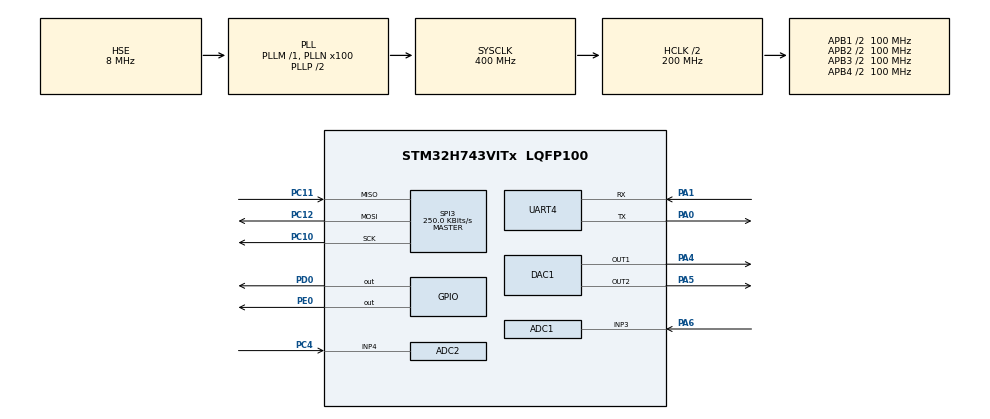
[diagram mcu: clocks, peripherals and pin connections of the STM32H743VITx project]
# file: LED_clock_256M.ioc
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ADC1.Channel-0\#ChannelRegularConversion=ADC_CHANNEL_3
ADC1.ClockPrescaler=ADC_CLOCK_ASYNC_DIV2
ADC1.ConversionDataManagement=ADC_CONVERSIONDATA_DMA_CIRCULAR
ADC1.DMAAccessModeView=ENABLE
ADC1.ExternalTrigConv=ADC_EXTERNALTRIG_T3_TRGO
ADC1.Mode=ADC_DUALMODE_REGSIMULT
ADC1.NbrOfConversion=1
ADC1.NbrOfConversionFlag=1
ADC1.OffsetNumber-0\#ChannelRegularConversion=ADC_OFFSET_NONE
ADC1.OversamplingMode=DISABLE
ADC1.Rank-0\#ChannelRegularConversion=1
ADC1.SamplingTime-0\#ChannelRegularConversion=ADC_SAMPLETIME_1CYCLE_5
ADC1.master=1
ADC2.Channel-1\#ChannelRegularConversion=ADC_CHANNEL_4
ADC2.ClockPrescaler=ADC_CLOCK_ASYNC_DIV2
ADC2.ConversionDataManagement=ADC_CONVERSIONDATA_DMA_CIRCULAR
ADC2.DMAAccessModeView=ENABLE
ADC2.Mode=ADC_DUALMODE_REGSIMULT
ADC2.NbrOfConversionFlag=1
ADC2.OffsetNumber-1\#ChannelRegularConversion=ADC_OFFSET_NONE
ADC2.Rank-1\#ChannelRegularConversion=1
ADC2.SamplingTime-1\#ChannelRegularConversion=ADC_SAMPLETIME_1CYCLE_5
Bdma.BDMA_GENERATOR0.0.Direction=DMA_MEMORY_TO_PERIPH
Bdma.BDMA_GENERATOR0.0.EventEnable=DISABLE
Bdma.BDMA_GENERATOR0.0.Instance=BDMA_Channel0
Bdma.BDMA_GENERATOR0.0.MemDataAlignment=DMA_MDATAALIGN_HALFWORD
Bdma.BDMA_GENERATOR0.0.MemInc=DMA_MINC_ENABLE
Bdma.BDMA_GENERATOR0.0.Mode=DMA_CIRCULAR
Bdma.BDMA_GENERATOR0.0.PeriphDataAlignment=DMA_PDATAALIGN_HALFWORD
Bdma.BDMA_GENERATOR0.0.PeriphInc=DMA_PINC_DISABLE
Bdma.BDMA_GENERATOR0.0.Polarity=HAL_DMAMUX_REQ_GEN_RISING
Bdma.BDMA_GENERATOR0.0.Priority=DMA_PRIORITY_LOW
Bdma.BDMA_GENERATOR0.0.RequestNumber=1
Bdma.BDMA_GENERATOR0.0.SignalID=HAL_DMAMUX2_REQ_GEN_LPTIM2_OUT
Bdma.BDMA_GENERATOR0.0.SyncEnable=DISABLE
Bdma.BDMA_GENERATOR0.0.SyncPolarity=HAL_DMAMUX_SYNC_NO_EVENT
Bdma.BDMA_GENERATOR0.0.SyncRequestNumber=1
Bdma.BDMA_GENERATOR0.0.SyncSignalID=NONE
Bdma.Request0=BDMA_GENERATOR0
Bdma.RequestsNb=1
CORTEX_M7.CPU_DCache=Disabled
CORTEX_M7.CPU_ICache=Disabled
DAC1.DAC_Channel-DAC_OUT2=DAC_CHANNEL_2
DAC1.DAC_Trigger-DAC_OUT1=DAC_TRIGGER_T4_TRGO
DAC1.DAC_Trigger-DAC_OUT2=DAC_TRIGGER_T4_TRGO
Dma.ADC1.0.Direction=DMA_PERIPH_TO_MEMORY
Dma.ADC1.0.EventEnable=DISABLE
Dma.ADC1.0.FIFOMode=DMA_FIFOMODE_DISABLE
Dma.ADC1.0.Instance=DMA1_Stream1
Dma.ADC1.0.MemDataAlignment=DMA_MDATAALIGN_HALFWORD
Dma.ADC1.0.MemInc=DMA_MINC_ENABLE
Dma.ADC1.0.Mode=DMA_CIRCULAR
Dma.ADC1.0.PeriphDataAlignment=DMA_PDATAALIGN_HALFWORD
Dma.ADC1.0.PeriphInc=DMA_PINC_DISABLE
Dma.ADC1.0.Polarity=HAL_DMAMUX_REQ_GEN_RISING
Dma.ADC1.0.Priority=DMA_PRIORITY_LOW
Dma.ADC1.0.RequestNumber=1
Dma.ADC1.0.SignalID=NONE
Dma.ADC1.0.SyncEnable=DISABLE
Dma.ADC1.0.SyncPolarity=HAL_DMAMUX_SYNC_NO_EVENT
Dma.ADC1.0.SyncRequestNumber=1
Dma.ADC1.0.SyncSignalID=NONE
Dma.DAC1_CH1.2.Direction=DMA_MEMORY_TO_PERIPH
Dma.DAC1_CH1.2.EventEnable=DISABLE
Dma.DAC1_CH1.2.FIFOMode=DMA_FIFOMODE_DISABLE
Dma.DAC1_CH1.2.Instance=DMA1_Stream6
Dma.DAC1_CH1.2.MemDataAlignment=DMA_MDATAALIGN_HALFWORD
Dma.DAC1_CH1.2.MemInc=DMA_MINC_ENABLE
Dma.DAC1_CH1.2.Mode=DMA_CIRCULAR
Dma.DAC1_CH1.2.PeriphDataAlignment=DMA_PDATAALIGN_HALFWORD
Dma.DAC1_CH1.2.PeriphInc=DMA_PINC_DISABLE
Dma.DAC1_CH1.2.Polarity=HAL_DMAMUX_REQ_GEN_RISING
Dma.DAC1_CH1.2.Priority=DMA_PRIORITY_LOW
Dma.DAC1_CH1.2.RequestNumber=1
Dma.DAC1_CH1.2.SignalID=NONE
Dma.DAC1_CH1.2.SyncEnable=DISABLE
Dma.DAC1_CH1.2.SyncPolarity=HAL_DMAMUX_SYNC_NO_EVENT
Dma.DAC1_CH1.2.SyncRequestNumber=1
Dma.DAC1_CH1.2.SyncSignalID=NONE
Dma.DAC1_CH2.3.Direction=DMA_MEMORY_TO_PERIPH
Dma.DAC1_CH2.3.EventEnable=DISABLE
Dma.DAC1_CH2.3.FIFOMode=DMA_FIFOMODE_DISABLE
Dma.DAC1_CH2.3.Instance=DMA1_Stream7
Dma.DAC1_CH2.3.MemDataAlignment=DMA_MDATAALIGN_HALFWORD
Dma.DAC1_CH2.3.MemInc=DMA_MINC_ENABLE
Dma.DAC1_CH2.3.Mode=DMA_CIRCULAR
Dma.DAC1_CH2.3.PeriphDataAlignment=DMA_PDATAALIGN_HALFWORD
Dma.DAC1_CH2.3.PeriphInc=DMA_PINC_DISABLE
Dma.DAC1_CH2.3.Polarity=HAL_DMAMUX_REQ_GEN_RISING
Dma.DAC1_CH2.3.Priority=DMA_PRIORITY_LOW
Dma.DAC1_CH2.3.RequestNumber=1
Dma.DAC1_CH2.3.SignalID=NONE
Dma.DAC1_CH2.3.SyncEnable=DISABLE
Dma.DAC1_CH2.3.SyncPolarity=HAL_DMAMUX_SYNC_NO_EVENT
Dma.DAC1_CH2.3.SyncRequestNumber=1
Dma.DAC1_CH2.3.SyncSignalID=NONE
Dma.Request0=ADC1
Dma.Request1=UART4_RX
Dma.Request2=DAC1_CH1
Dma.Request3=DAC1_CH2
Dma.UART4_RX.1.Direction=DMA_PERIPH_TO_MEMORY
Dma.UART4_RX.1.EventEnable=DISABLE
Dma.UART4_RX.1.FIFOMode=DMA_FIFOMODE_DISABLE
Dma.UART4_RX.1.Instance=DMA1_Stream2
Dma.UART4_RX.1.MemDataAlignment=DMA_MDATAALIGN_BYTE
Dma.UART4_RX.1.MemInc=DMA_MINC_ENABLE
Dma.UART4_RX.1.Mode=DMA_NORMAL
Dma.UART4_RX.1.PeriphDataAlignment=DMA_PDATAALIGN_BYTE
Dma.UART4_RX.1.PeriphInc=DMA_PINC_DISABLE
Dma.UART4_RX.1.Polarity=HAL_DMAMUX_REQ_GEN_RISING
Dma.UART4_RX.1.Priority=DMA_PRIORITY_LOW
Dma.UART4_RX.1.RequestNumber=1
Dma.UART4_RX.1.SignalID=NONE
Dma.UART4_RX.1.SyncEnable=DISABLE
Dma.UART4_RX.1.SyncPolarity=HAL_DMAMUX_SYNC_NO_EVENT
Dma.UART4_RX.1.SyncRequestNumber=1
Dma.UART4_RX.1.SyncSignalID=NONE
Mcu.Family=STM32H7
Mcu.Name=STM32H743VITx
Mcu.Package=LQFP100
NVIC.BDMA_Channel0_IRQn=true\:0\:0\:false\:false\:true\:true\:true
NVIC.DMA1_Stream1_IRQn=true\:0\:0\:false\:false\:true\:false\:true
NVIC.DMA1_Stream2_IRQn=true\:0\:0\:false\:false\:true\:false\:true
NVIC.DMA1_Stream6_IRQn=true\:0\:0\:false\:false\:true\:false\:true
NVIC.DMA1_Stream7_IRQn=true\:0\:0\:false\:false\:true\:false\:true
NVIC.DMAMUX2_OVR_IRQn=true\:0\:0\:false\:false\:true\:false\:true
NVIC.PriorityGroup=NVIC_PRIORITYGROUP_4
NVIC.TIM3_IRQn=true\:0\:0\:false\:false\:true\:true\:true
NVIC.UART4_IRQn=true\:0\:0\:false\:false\:true\:true\:true
PA0.Mode=Asynchronous
PA0.Signal=UART4_TX
PA1.Mode=Asynchronous
PA1.Signal=UART4_RX
PA4.Signal=COMP_DAC11_group
PA5.Signal=COMP_DAC12_group
PA6.Signal=ADCx_INP3
PC10.Mode=Full_Duplex_Master
PC10.Signal=SPI3_SCK
PC11.Mode=Full_Duplex_Master
PC11.Signal=SPI3_MISO
PC12.Mode=Full_Duplex_Master
PC12.Signal=SPI3_MOSI
PC4.Signal=ADCx_INP4
PD0.Signal=GPIO_Output
PE0.Signal=GPIO_Output
PH0-OSC_IN\ (PH0).Mode=HSE-External-Oscillator
PH0-OSC_IN\ (PH0).Signal=RCC_OSC_IN
PH1-OSC_OUT\ (PH1).Mode=HSE-External-Oscillator
PH1-OSC_OUT\ (PH1).Signal=RCC_OSC_OUT
ProjectManager.HeapSize=0x200
ProjectManager.StackSize=0x400
ProjectManager.TargetToolchain=MDK-ARM V5
RCC.ADCCLockSelection=RCC_ADCCLKSOURCE_PLL3
RCC.ADCFreq_Value=72000000
RCC.APB1Freq_Value=100000000
RCC.APB2Freq_Value=100000000
RCC.APB3Freq_Value=100000000
RCC.APB4Freq_Value=100000000
RCC.CortexFreq_Value=400000000
RCC.D1PPRE=RCC_APB3_DIV2
RCC.D2PPRE1=RCC_APB1_DIV2
RCC.D2PPRE2=RCC_APB2_DIV2
RCC.D3PPRE=RCC_APB4_DIV2
RCC.DIVM1=1
RCC.DIVM2=1
RCC.DIVM3=1
RCC.DIVN1=100
RCC.DIVN2=32
RCC.DIVN3=27
RCC.DIVP2=1
RCC.DIVR3=3
RCC.HCLKFreq_Value=200000000
RCC.HPRE=RCC_HCLK_DIV2
RCC.HSE_VALUE=8000000
RCC.LPTIM345CLockSelection=RCC_LPTIM345CLKSOURCE_PLL2
RCC.PLL2FRACN=0
RCC.PLL3FRACN=0
RCC.PLLSourceVirtual=RCC_PLLSOURCE_HSE
RCC.PWR_Regulator_Voltage_Scale=PWR_REGULATOR_VOLTAGE_SCALE1
RCC.SPI123CLockSelection=RCC_SPI123CLKSOURCE_CLKP
RCC.SYSCLKFreq_VALUE=400000000
RCC.SYSCLKSource=RCC_SYSCLKSOURCE_PLLCLK
RCC.USBFreq_Value=400000000
SH.ADCx_INP3.0=ADC1_INP3,IN3-Single-Ended
SH.ADCx_INP4.0=ADC2_INP4,IN4-Single-Ended
SH.COMP_DAC11_group.0=DAC1_OUT1,DAC_OUT1
SH.COMP_DAC12_group.0=DAC1_OUT2,DAC_OUT2
SPI3.BaudRatePrescaler=SPI_BAUDRATEPRESCALER_256
SPI3.CLKPhase=SPI_PHASE_2EDGE
SPI3.CalculateBaudRate=250.0 KBits/s
SPI3.DataSize=SPI_DATASIZE_32BIT
SPI3.Direction=SPI_DIRECTION_2LINES
SPI3.Mode=SPI_MODE_MASTER
SPI3.VirtualType=VM_MASTER
TIM3.Period=200-1
TIM3.Prescaler=10-1
TIM3.TIM_MasterOutputTrigger=TIM_TRGO_UPDATE
TIM3.TIM_MasterSlaveMode=TIM_MASTERSLAVEMODE_DISABLE
TIM4.Period=200-1
TIM4.Prescaler=10-1
TIM4.TIM_MasterOutputTrigger=TIM_TRGO_UPDATE
VP_LPTIM2_VS_LPTIM_counterModeInternalClock.Mode=Counts__internal_clock_event_00
VP_LPTIM3_VS_LPTIM_counterModeInternalClock.Mode=Counts__internal_clock_event_00
VP_TIM3_VS_ClockSourceINT.Mode=Internal
VP_TIM4_VS_ClockSourceINT.Mode=Internal
board=custom

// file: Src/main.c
/* USER CODE BEGIN Header */
/**
  ******************************************************************************
  * @file           : main.c
  * @brief          : Main program body
  ******************************************************************************
  ** This notice applies to any and all portions of this file
  * that are not between comment pairs USER CODE BEGIN and
  * USER CODE END. Other portions of this file, whether
  * inserted by the user or by software development tools
  * are owned by their respective copyright owners.
  *
  * COPYRIGHT(c) 2019 STMicroelectronics
  *
  * Redistribution and use in source and binary forms, with or without modification,
  * are permitted provided that the following conditions are met:
  *   1. Redistributions of source code must retain the above copyright notice,
  *      this list of conditions and the following disclaimer.
  *   2. Redistributions in binary form must reproduce the above copyright notice,
  *      this list of conditions and the following disclaimer in the documentation
  *      and/or other materials provided with the distribution.
  *   3. Neither the name of STMicroelectronics nor the names of its contributors
  *      may be used to endorse or promote products derived from this software
  *      without specific prior written permission.
  *
  * THIS SOFTWARE IS PROVIDED BY THE COPYRIGHT HOLDERS AND CONTRIBUTORS "AS IS"
  * AND ANY EXPRESS OR IMPLIED WARRANTIES, INCLUDING, BUT NOT LIMITED TO, THE
  * IMPLIED WARRANTIES OF MERCHANTABILITY AND FITNESS FOR A PARTICULAR PURPOSE ARE
  * DISCLAIMED. IN NO EVENT SHALL THE COPYRIGHT HOLDER OR CONTRIBUTORS BE LIABLE
  * FOR ANY DIRECT, INDIRECT, INCIDENTAL, SPECIAL, EXEMPLARY, OR CONSEQUENTIAL
  * DAMAGES (INCLUDING, BUT NOT LIMITED TO, PROCUREMENT OF SUBSTITUTE GOODS OR
  * SERVICES; LOSS OF USE, DATA, OR PROFITS; OR BUSINESS INTERRUPTION) HOWEVER
  * CAUSED AND ON ANY THEORY OF LIABILITY, WHETHER IN CONTRACT, STRICT LIABILITY,
  * OR TORT (INCLUDING NEGLIGENCE OR OTHERWISE) ARISING IN ANY WAY OUT OF THE USE
  * OF THIS SOFTWARE, EVEN IF ADVISED OF THE POSSIBILITY OF SUCH DAMAGE.
  *
  ******************************************************************************
  */
/* USER CODE END Header */

#include "main.h"
#include "adc.h"
#include "bdma.h"
#include "dac.h"
#include "dma.h"
#include "lptim.h"
#include "spi.h"
#include "tim.h"
#include "usart.h"
#include "gpio.h"

/* USER CODE BEGIN Includes */
#include "arm_math.h"
#include "bdma.h"
//#include "lptim.h"
#include "DDS.h"
#include "arm_fir_example_f32.h"
#include "arm_iir_example_f32.h"
#include "ADPCM.h"
#include "uart_lcd.h"
#include "dft.h"
#include "string.h"
#include "stdlib.h"
#include "stdio.h"
#include "interpolation.h"
/* USER CODE END Includes */

void SystemClock_Config(void);
/* USER CODE BEGIN PFP */
short WorkingBuf[1024];
signed char Qerror[1024];
short Output[1024];
u16 len = 0;

int ADC1_value[ADCCONVERTEDVALUES_BUFFER_SIZE ];
int ADC2_value[ADCCONVERTEDVALUES_BUFFER_SIZE ];

float Amplitude_1[1024];
float Amplitude_2[1024];

float phi_1[1024];
float phi_2[1024];

int dst1[3000], dst2[3000];

u16 Flag_1 = 0, Flag_2 = 0;
float delta_t = 0;
float delta_phi = 0;
float z, r, c;

//FFT
float32_t  FFTin[4096];  //输入1024个实数
float32_t  FFTout[4096];  //输出的512个复数
float32_t  mag[2048];    //得到的512个幅度值
arm_rfft_fast_instance_f32  S;//实数FFT句柄
uint32_t  freq = 0;
float Freq[2048];
float Mag[2048];
float DC = 0;
float max_amp = 0;

/* USER CODE END PFP */

/* USER CODE BEGIN 0 */
void SysTick_interrupt()			//1ms
{
    static u32 i;
    if(i == 1000)
    {

        i = 0;
    }
    i++;
}

//void FFT(int* data_in)
//{
//    static u8 flag_fft = 0;
//	for(int i = 0; i < ADCCONVERTEDVALUES_BUFFER_SIZE/2; i++)
//    {
//        FFTin[i] = data_in[i];
////		printf("%d ", data_in[i]);
//    }
//	if(flag_fft == 0)
//	{
//		arm_rfft_fast_init_f32(&S, ADCCONVERTEDVALUES_BUFFER_SIZE/2);
//		flag_fft++;
//	}
//	arm_rfft_fast_f32(&S, FFTin, FFTout, 0);
//    arm_cmplx_mag_f32(FFTout, mag, ADCCONVERTEDVALUES_BUFFER_SIZE/4);
//    DC = mag[0] /2048/4095*3.3;
//	for(int i = 1; i < ADCCONVERTEDVALUES_BUFFER_SIZE/4; i++)
//    {
//        Mag[i] = (float)2 * mag[i] /2048/4095*3.3;
//        Freq[i] = (float)i;	//fs=4096 ,N=4096;
////		printf("%f ",Mag[i]);
//    }
//    arm_max_f32(&Mag[1], ADCCONVERTEDVALUES_BUFFER_SIZE/4-1, &max_amp, &freq); 		// 频率freq
//	freq += 1;
//}

/* USER CODE END 0 */

int main(void)
{
    /* USER CODE BEGIN 1 */
    /* Enable I-Cache---------------------------------------------------------*/
//  SCB_EnableICache();

//  /* Enable D-Cache---------------------------------------------------------*/
//  SCB_EnableDCache();
    /* USER CODE END 1 */

    /* MCU Configuration--------------------------------------------------------*/

    /* Reset of all peripherals, Initializes the Flash interface and the Systick. */
    HAL_Init();

    /* Configure the system clock */
    SystemClock_Config();

    /* USER CODE BEGIN SysInit */
//    HAL_Delay(1000);
    /* USER CODE END SysInit */

    /* Initialize all configured peripherals */
    MX_GPIO_Init();
//  MX_BDMA_Init();
    MX_DMA_Init();
//  MX_ADC1_Init();
    MX_TIM3_Init();
    MX_UART4_Init();
//  MX_LPTIM2_Init();
    MX_SPI3_Init();
//  MX_ADC2_Init();
    MX_DAC1_Init();
    MX_TIM4_Init();
    /* USER CODE BEGIN 2 */
    MX_LPTIM3_Init();
    MX_ADC2_Init();
    HAL_ADCEx_Calibration_Start(&hadc2, ADC_CALIB_OFFSET, ADC_SINGLE_ENDED);

    MX_ADC1_Init();
    MX_ADC2_Init();

    ADC12_Tim3_START();		//fs = 2k
//    InitSinTable();
//    DDS_init(num);
//    UART_DMA_init();
    u8 state = 1;

//	DAC_DMA_START();
//	printf("SPG(1);\r\n");		// 初始化

    /* USER CODE END 2 */

    /* Infinite loop */
    while(1)
    {

        /* USER CODE BEGIN 3 */

        // 设置激励频率
//        if(but_enter == 1)
//        {
////            DDS_init(num);			// 初始值1K
//            but_enter = 0;

//        }

//        if(Clear == 1)
//        {
//            HAL_Delay(500);
//            printf("SPG(1);\r\n");
//            HAL_Delay(500);
//            Clear = 0;
//        }
        if(ADC_HALF == 1)
        {
//            for(int i = 0; i < ADCCONVERTEDVALUES_BUFFER_SIZE / 2 ; i++)
//            {
//				printf("%d ", ADC2_value[i]);
//            }
//			FFT(ADC2_value);

            ADC_HALF = 0;
        }
        if(ADC_FULL == 1)
        {

            ADC_FULL = 0;
        }

    }

    /* USER CODE END 3 */
}

void SystemClock_Config(void)
{
    RCC_OscInitTypeDef RCC_OscInitStruct = {0};
    RCC_ClkInitTypeDef RCC_ClkInitStruct = {0};
    RCC_PeriphCLKInitTypeDef PeriphClkInitStruct = {0};

    /** Supply configuration update enable
    */
    HAL_PWREx_ConfigSupply(PWR_LDO_SUPPLY);
    /** Configure the main internal regulator output voltage
    */
    __HAL_PWR_VOLTAGESCALING_CONFIG(PWR_REGULATOR_VOLTAGE_SCALE1);

    while(!__HAL_PWR_GET_FLAG(PWR_FLAG_VOSRDY)) {}
    /** Macro to configure the PLL clock source
    */
    __HAL_RCC_PLL_PLLSOURCE_CONFIG(RCC_PLLSOURCE_HSE);
    /** Initializes the CPU, AHB and APB busses clocks
    */
    RCC_OscInitStruct.OscillatorType = RCC_OSCILLATORTYPE_HSI | RCC_OSCILLATORTYPE_HSE;
    RCC_OscInitStruct.HSEState = RCC_HSE_ON;
    RCC_OscInitStruct.HSIState = RCC_HSI_DIV1;
    RCC_OscInitStruct.HSICalibrationValue = RCC_HSICALIBRATION_DEFAULT;
    RCC_OscInitStruct.PLL.PLLState = RCC_PLL_ON;
    RCC_OscInitStruct.PLL.PLLSource = RCC_PLLSOURCE_HSE;
    RCC_OscInitStruct.PLL.PLLM = 1;
    RCC_OscInitStruct.PLL.PLLN = 100;
    RCC_OscInitStruct.PLL.PLLP = 2;
    RCC_OscInitStruct.PLL.PLLQ = 2;
    RCC_OscInitStruct.PLL.PLLR = 2;
    RCC_OscInitStruct.PLL.PLLRGE = RCC_PLL1VCIRANGE_3;
    RCC_OscInitStruct.PLL.PLLVCOSEL = RCC_PLL1VCOWIDE;
    RCC_OscInitStruct.PLL.PLLFRACN = 0;
    if(HAL_RCC_OscConfig(&RCC_OscInitStruct) != HAL_OK)
    {
        Error_Handler();
    }
    /** Initializes the CPU, AHB and APB busses clocks
    */
    RCC_ClkInitStruct.ClockType = RCC_CLOCKTYPE_HCLK | RCC_CLOCKTYPE_SYSCLK
                                  | RCC_CLOCKTYPE_PCLK1 | RCC_CLOCKTYPE_PCLK2
                                  | RCC_CLOCKTYPE_D3PCLK1 | RCC_CLOCKTYPE_D1PCLK1;
    RCC_ClkInitStruct.SYSCLKSource = RCC_SYSCLKSOURCE_PLLCLK;
    RCC_ClkInitStruct.SYSCLKDivider = RCC_SYSCLK_DIV1;
    RCC_ClkInitStruct.AHBCLKDivider = RCC_HCLK_DIV2;
    RCC_ClkInitStruct.APB3CLKDivider = RCC_APB3_DIV2;
    RCC_ClkInitStruct.APB1CLKDivider = RCC_APB1_DIV2;
    RCC_ClkInitStruct.APB2CLKDivider = RCC_APB2_DIV2;
    RCC_ClkInitStruct.APB4CLKDivider = RCC_APB4_DIV2;

  if (HAL_RCC_ClockConfig(&RCC_ClkInitStruct, FLASH_LATENCY_2) != HAL_OK)
  {
    Error_Handler();
  }
  PeriphClkInitStruct.PeriphClockSelection = RCC_PERIPHCLK_UART4|RCC_PERIPHCLK_SPI3
                              |RCC_PERIPHCLK_LPTIM2|RCC_PERIPHCLK_ADC
                              |RCC_PERIPHCLK_LPTIM3|RCC_PERIPHCLK_CKPER;
  PeriphClkInitStruct.PLL2.PLL2M = 1;
  PeriphClkInitStruct.PLL2.PLL2N = 32;
  PeriphClkInitStruct.PLL2.PLL2P = 1;
  PeriphClkInitStruct.PLL2.PLL2Q = 2;
  PeriphClkInitStruct.PLL2.PLL2R = 2;
  PeriphClkInitStruct.PLL2.PLL2RGE = RCC_PLL2VCIRANGE_3;
  PeriphClkInitStruct.PLL2.PLL2VCOSEL = RCC_PLL2VCOWIDE;
  PeriphClkInitStruct.PLL2.PLL2FRACN = 0;
  PeriphClkInitStruct.PLL3.PLL3M = 1;
  PeriphClkInitStruct.PLL3.PLL3N = 27;
  PeriphClkInitStruct.PLL3.PLL3P = 2;
  PeriphClkInitStruct.PLL3.PLL3Q = 2;
  PeriphClkInitStruct.PLL3.PLL3R = 3;
  PeriphClkInitStruct.PLL3.PLL3RGE = RCC_PLL3VCIRANGE_3;
  PeriphClkInitStruct.PLL3.PLL3VCOSEL = RCC_PLL3VCOWIDE;
  PeriphClkInitStruct.PLL3.PLL3FRACN = 0;
  PeriphClkInitStruct.CkperClockSelection = RCC_CLKPSOURCE_HSI;
  PeriphClkInitStruct.Spi123ClockSelection = RCC_SPI123CLKSOURCE_CLKP;
  PeriphClkInitStruct.Usart234578ClockSelection = RCC_USART234578CLKSOURCE_D2PCLK1;
  PeriphClkInitStruct.Lptim2ClockSelection = RCC_LPTIM2CLKSOURCE_D3PCLK1;
  PeriphClkInitStruct.Lptim345ClockSelection = RCC_LPTIM345CLKSOURCE_PLL2;
  PeriphClkInitStruct.AdcClockSelection = RCC_ADCCLKSOURCE_PLL3;
  if (HAL_RCCEx_PeriphCLKConfig(&PeriphClkInitStruct) != HAL_OK)
  {
    Error_Handler();
  }
}

void Error_Handler(void)
{
}

/************************ (C) COPYRIGHT STMicroelectronics *****END OF FILE****/
